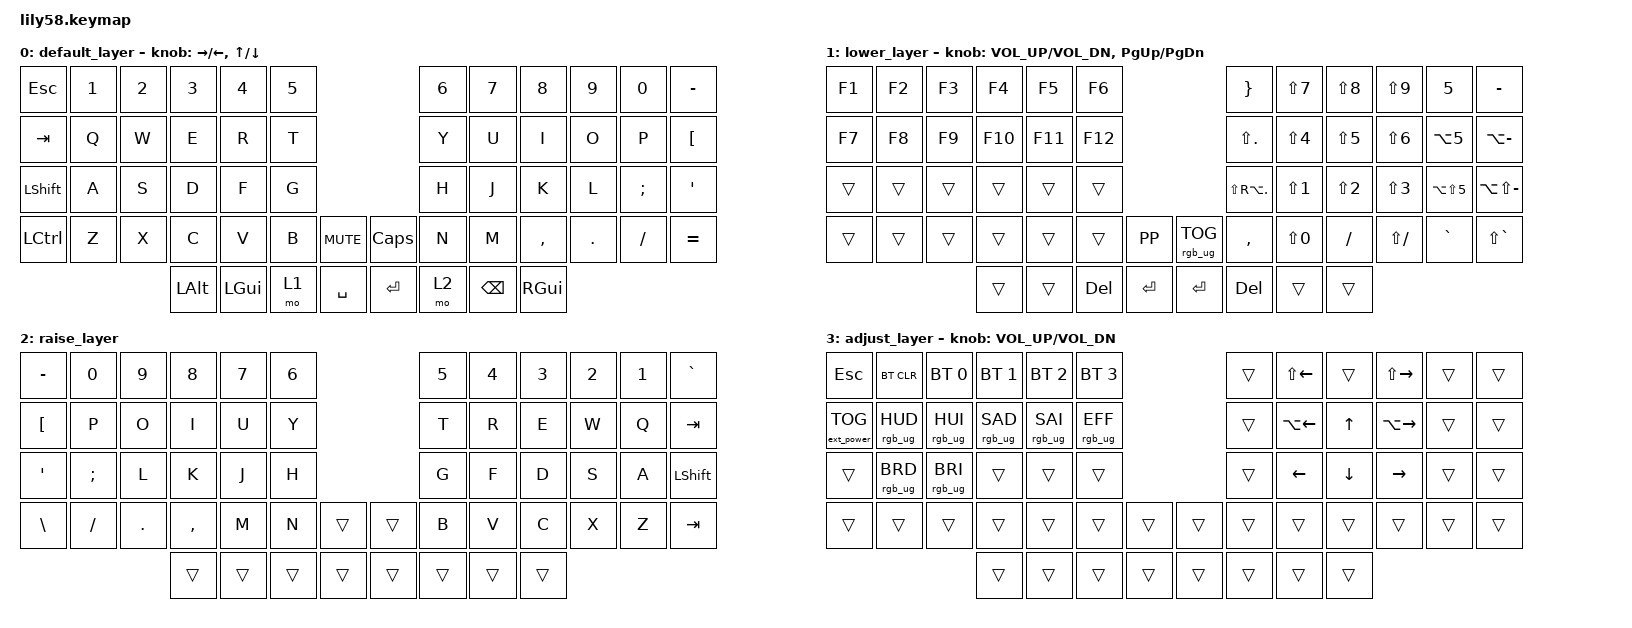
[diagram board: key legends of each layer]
/*
 * Copyright (c) 2020 The ZMK Contributors
 *
 * SPDX-License-Identifier: MIT
 */

#include <behaviors.dtsi>
#include <dt-bindings/zmk/bt.h>
#include <dt-bindings/zmk/ext_power.h>
#include <dt-bindings/zmk/keys.h>
#include <dt-bindings/zmk/rgb.h>

/ {
    // Activate ADJUST layer by pressing raise and lower

    conditional_layers {
        compatible = "zmk,conditional-layers";

        adjust_layer {
            if-layers = <1 2>;
            then-layer = <3>;
        };
    };

    keymap {
        compatible = "zmk,keymap";

        default_layer {
            // ------------------------------------------------------------------------------------------------------------
            // |  ESC  |  1  |  2  |  3   |  4   |  5   |                   |  6   |  7    |  8    |  9   |   0   |   `   |
            // |  TAB  |  Q  |  W  |  E   |  R   |  T   |                   |  Y   |  U    |  I    |  O   |   P   |   -   |
            // |  CTRL |  A  |  S  |  D   |  F   |  G   |                   |  H   |  J    |  K    |  L   |   ;   |   '   |
            // | SHIFT |  Z  |  X  |  C   |  V   |  B   |  MUTE  |  |CAPS|  N   |  M    |  ,    |  .   |   /   | SHIFT |
            //                     | ALT  | GUI  | LOWER|  SPACE |  | ENTER | RAISE| BSPC  | GUI   |

            bindings = <
&kp ESC    &kp N1  &kp N2  &kp N3    &kp N4     &kp N5                                  &kp N6     &kp N7    &kp N8     &kp N9   &kp N0    &kp MINUS
&kp TAB    &kp Q   &kp W   &kp E     &kp R      &kp T                                   &kp Y      &kp U     &kp I      &kp O    &kp P     &kp LBKT
&kp LSHFT  &kp A   &kp S   &kp D     &kp F      &kp G                                   &kp H      &kp J     &kp K      &kp L    &kp SEMI  &kp SQT
&kp LCTRL  &kp Z   &kp X   &kp C     &kp V      &kp B       &kp C_MUTE     &kp CAPS     &kp N      &kp M     &kp COMMA  &kp DOT  &kp FSLH  &kp EQUAL
                           &kp LALT  &kp LGUI   &mo 1       &kp SPACE      &kp RET      &mo 2     &kp BSPC  &kp RGUI
            >;

            sensor-bindings = <&inc_dec_kp RIGHT LEFT &inc_dec_kp UP DOWN>;
        };

        lower_layer {
            // ------------------------------------------------------------------------------------------------------------
            // |  F1   |  F2 |  F3   |   F4   |  F5    |    F6  |           |   *  |    7  |   8   |   9  |   (   |   )   |
            // |  F7   |  F8 |  F9 |  F10  |  F11  |  F12  |                |   /  |    4  |   5   |   6  |   {   |   }   |
            // |       |     |     |      |      |      |                   |  "|" |    1  |   2   |   3  |   [   |   ]   |
            // |EXTPWR |     |     |      |      |      |  PLAY  |  |RGB_TOG|  .   |    0  |   =   |  +   |   <   |   >   |
            //                     |      |      | DEL  | ENTER  |  | ENTER | DEL  |       |       |

            bindings = <
&kp F1     &kp F2  &kp F3  &kp F4   &kp F5   &kp F6                                &kp RBRC         &kp LS(N7)  &kp LS(N8)  &kp LS(N9)    &kp N5          &kp MINUS
&kp F7     &kp F8  &kp F9  &kp F10  &kp F11  &kp F12                               &kp LS(DOT)      &kp LS(N4)  &kp LS(N5)  &kp LS(N6)    &kp LA(N5)      &kp LA(MINUS)
&trans     &trans  &trans  &trans   &trans   &trans                                &kp LS(RA(DOT))  &kp LS(N1)  &kp LS(N2)  &kp LS(N3)    &kp LA(LS(N5))  &kp LA(LS(MINUS))
&trans     &trans  &trans  &trans   &trans   &trans   &kp K_PP    &rgb_ug RGB_TOG  &kp COMMA        &kp LS(N0)  &kp FSLH    &kp LS(FSLH)  &kp GRAVE       &kp LS(GRAVE)
                           &trans   &trans   &kp DEL  &kp RET     &kp RET          &kp DEL          &trans      &trans
            >;

            sensor-bindings = <&inc_dec_kp C_VOL_UP C_VOL_DN &inc_dec_kp PG_UP PG_DN>;
        };

        raise_layer {
            bindings = <
&kp MINUS  &kp N0    &kp N9   &kp N8     &kp N7  &kp N6                    &kp N5  &kp N4  &kp N3  &kp N2  &kp N1  &kp GRAVE
&kp LBKT   &kp P     &kp O    &kp I      &kp U   &kp Y                     &kp T   &kp R   &kp E   &kp W   &kp Q   &kp TAB
&kp APOS   &kp SEMI  &kp L    &kp K      &kp J   &kp H                     &kp G   &kp F   &kp D   &kp S   &kp A   &kp LSHFT
&kp BSLH   &kp FSLH  &kp DOT  &kp COMMA  &kp M   &kp N   &trans    &trans  &kp B   &kp V   &kp C   &kp X   &kp Z   &kp TAB
                              &trans     &trans  &trans  &trans    &trans  &trans  &trans  &trans
            >;
        };

        adjust_layer {
            // ----------------------------------------------------------------------------------------------------------------------------
            // |   ESC  |  BTCLR  |  BT1    |   BT2   |   BT3   |   BT4   |                  |      |       |       |       |       |       |
            // | EXTPWR | RGB_HUD | RGB_HUI | RGB_SAD | RGB_SAI | RGB_EFF |                  |      | LALT L| ARWUP | LALT R|       |       |
            // |        | RGB_BRD | RGB_BRI |         |         |         |                  |      |ARLEFT | ARDOWN|ARRIGHT|       |       |
            // |        |         |         |         |         |         |         | |      |      |       |       |       |       |       |
            //                    |         |         |         |         |         | |      |      |       |       |       |

            bindings = <
&kp ESC            &bt BT_CLR       &bt BT_SEL 0     &bt BT_SEL 1     &bt BT_SEL 2     &bt BT_SEL 3                       &trans  &kp LS(LEFT)  &trans    &kp LS(RIGHT)  &trans  &trans
&ext_power EP_TOG  &rgb_ug RGB_HUD  &rgb_ug RGB_HUI  &rgb_ug RGB_SAD  &rgb_ug RGB_SAI  &rgb_ug RGB_EFF                    &trans  &kp LA(LEFT)  &kp UP    &kp LA(RIGHT)  &trans  &trans
&trans             &rgb_ug RGB_BRD  &rgb_ug RGB_BRI  &trans           &trans           &trans                             &trans  &kp LEFT      &kp DOWN  &kp RIGHT      &trans  &trans
&trans             &trans           &trans           &trans           &trans           &trans           &trans    &trans  &trans  &trans        &trans    &trans         &trans  &trans
                                                     &trans           &trans           &trans           &trans    &trans  &trans  &trans        &trans
            >;

            sensor-bindings = <&inc_dec_kp C_VOL_UP C_VOL_DN>;
        };
    };
};
